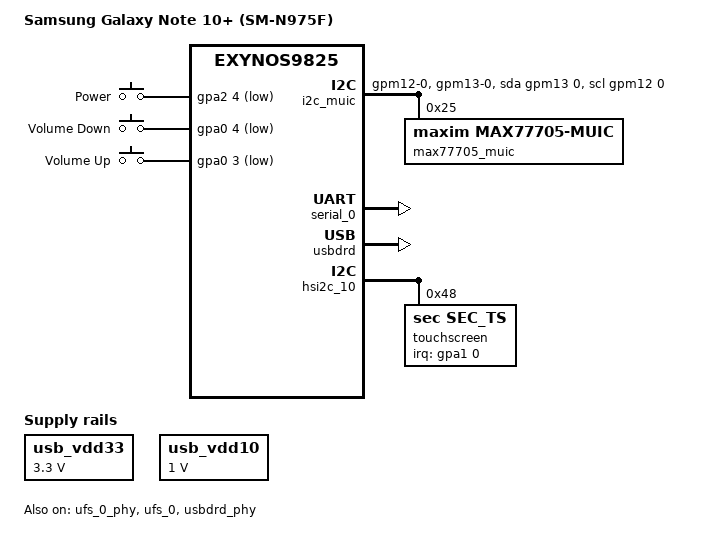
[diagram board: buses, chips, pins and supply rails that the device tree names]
// SPDX-License-Identifier: GPL-2.0 OR BSD-3-Clause
/*
 * Samsung Galaxy Note 10+ (d2s/SM-N975F) device tree source
 */

/dts-v1/;
#include "exynos9825.dtsi"
#include <dt-bindings/gpio/gpio.h>
#include <dt-bindings/input/input.h>

/ {
	model = "Samsung Galaxy Note 10+ (SM-N975F)";
	compatible = "samsung,d2s", "samsung,exynos9825";
	chassis-type = "handset";

	chosen {
		stdout-path = "serial0:115200n8";
		bootargs = "earlycon=exynos4210,0x10440000 console=ttySAC0,115200 console=tty0 init=/init scsi_mod.max_luns=1 pmos_root=/dev/sda32 log_buf_len=4M";
	};

	memory@80000000 {
		device_type = "memory";
		reg = <0x0 0x80000000 0x3ab00000>;
	};

	memory@c0000000 {
		device_type = "memory";
		reg = <0x0 0xc0000000 0x20000000>;
	};

	memory@e1900000 {
		device_type = "memory";
		reg = <0x0 0xe1900000 0x1e700000>;
	};

	memory@880000000 {
		device_type = "memory";
		reg = <0x8 0x80000000 0x80000000>;
	};

	memory@900000000 {
		device_type = "memory";
		reg = <0x9 0x0 0x80000000>;
	};

	memory@980000000 {
		device_type = "memory";
		reg = <0x9 0x80000000 0x80000000>;
	};

	memory@a00000000 {
		device_type = "memory";
		reg = <0xa 0x0 0x80000000>;
	};

	memory@a80000000 {
		device_type = "memory";
		reg = <0xa 0x80000000 0x80000000>;
	};

	reserved-memory {
		#address-cells = <2>;
		#size-cells = <1>;
		ranges;

		framebuffer@ca000000 {
			compatible = "shared-dma-pool";
			reg = <0x0 0xca000000 0x2000000>;
			no-map;
		};

		/*
		 * Reuse the vendor debug-snapshot "log_kernel" area
		 * (0xfd900000..0xfdb10000) for mainline ramoops/pstore:
		 * the bootloader preserves this region across resets and
		 * only the vendor kernel's dss driver writes here (absent
		 * in mainline).  Captures panics (e.g. GPU-on crashes)
		 * so the next boot can read them via /sys/fs/pstore.
		 */
		ramoops@fd910000 {
			compatible = "ramoops";
			reg = <0x0 0xfd910000 0x200000>;
			record-size = <0x10000>;
			console-size = <0x100000>;
			ftrace-size = <0x40000>;
			pmsg-size = <0x40000>;
			no-map;
		};
	};

	usb_vdd33: regulator-usb-vdd33 {
		compatible = "regulator-fixed";
		regulator-name = "vdd33";
		regulator-min-microvolt = <3300000>;
		regulator-max-microvolt = <3300000>;
	};

	usb_vdd10: regulator-usb-vdd10 {
		compatible = "regulator-fixed";
		regulator-name = "vdd10";
		regulator-min-microvolt = <1000000>;
		regulator-max-microvolt = <1000000>;
	};

	framebuffer: framebuffer@ca000000 {
		compatible = "simple-framebuffer";
		reg = <0x0 0xca000000 0x10b3000>;
		width = <1440>;
		height = <3040>;
		stride = <(1440 * 4)>;
		format = "a8r8g8b8";
	};

	gpio-keys {
		compatible = "gpio-keys";

		pinctrl-0 = <&key_power &key_voldown &key_volup>;
		pinctrl-names = "default";

		power-key {
			label = "Power";
			linux,code = <KEY_POWER>;
			gpios = <&gpa2 4 GPIO_ACTIVE_LOW>;
			wakeup-source;
		};

		voldown-key {
			label = "Volume Down";
			linux,code = <KEY_VOLUMEDOWN>;
			gpios = <&gpa0 4 GPIO_ACTIVE_LOW>;
		};

		volup-key {
			label = "Volume Up";
			linux,code = <KEY_VOLUMEUP>;
			gpios = <&gpa0 3 GPIO_ACTIVE_LOW>;
		};
	};

	/*
	 * MAX77705 MUIC on the USI_CMGP03 pins (gpm12/gpm13). The mainline
	 * exynos9820 clock driver does not provide the USI_CMGP3 clocks, so
	 * bit-bang the bus with i2c-gpio instead. The MUIC routes USB D+/D-
	 * to the AP PHY only when its CTRL1 switch is set to COM_USB; the
	 * bootloader leaves it open.
	 */
	i2c_muic: i2c-muic {
		compatible = "i2c-gpio";
		sda-gpios = <&gpm13 0 (GPIO_ACTIVE_HIGH | GPIO_OPEN_DRAIN)>;
		scl-gpios = <&gpm12 0 (GPIO_ACTIVE_HIGH | GPIO_OPEN_DRAIN)>;
		i2c-gpio,delay-us = <5>;
		#address-cells = <1>;
		#size-cells = <0>;

		pinctrl-names = "default";
		pinctrl-0 = <&muic_i2c_pins>;

		max77705_muic: max77705@25 {
			compatible = "maxim,max77705-muic";
			reg = <0x25>;
		};
	};
};

&oscclk {
	clock-frequency = <26000000>;
};

&serial_0 {
	status = "okay";
};

&ufs_0_phy {
	status = "okay";
};

&ufs_0 {
	status = "okay";
};

&usbdrd_phy {
	status = "okay";
};

&usbdrd {
	status = "okay";
};

&pinctrl_alive {
	key_power: key-power-pins {
		samsung,pins = "gpa2-4";
		samsung,pin-function = <EXYNOS_PIN_FUNC_EINT>;
		samsung,pin-pud = <EXYNOS_PIN_PULL_UP>;
		samsung,pin-drv = <EXYNOS5420_PIN_DRV_LV1>;
	};

	key_voldown: key-voldown-pins {
		samsung,pins = "gpa0-4";
		samsung,pin-function = <EXYNOS_PIN_FUNC_EINT>;
		samsung,pin-pud = <EXYNOS_PIN_PULL_UP>;
		samsung,pin-drv = <EXYNOS5420_PIN_DRV_LV1>;
	};

	key_volup: key-volup-pins {
		samsung,pins = "gpa0-3";
		samsung,pin-function = <EXYNOS_PIN_FUNC_EINT>;
		samsung,pin-pud = <EXYNOS_PIN_PULL_UP>;
		samsung,pin-drv = <EXYNOS5420_PIN_DRV_LV1>;
	};
};

&pinctrl_cmgp {
	muic_i2c_pins: muic-i2c-pins {
		samsung,pins = "gpm12-0", "gpm13-0";
		samsung,pin-function = <EXYNOS_PIN_FUNC_INPUT>;
		samsung,pin-pud = <EXYNOS_PIN_PULL_UP>;
		samsung,pin-drv = <EXYNOS5420_PIN_DRV_LV1>;
	};

};

&hsi2c_10 {
	status = "okay";

	touchscreen@48 {
		compatible = "sec,sec_ts";
		reg = <0x48>;
		interrupt-parent = <&gpa1>;
		interrupts = <0 IRQ_TYPE_LEVEL_LOW>;
		touchscreen-size-x = <4096>;
		touchscreen-size-y = <4096>;
	};
};
